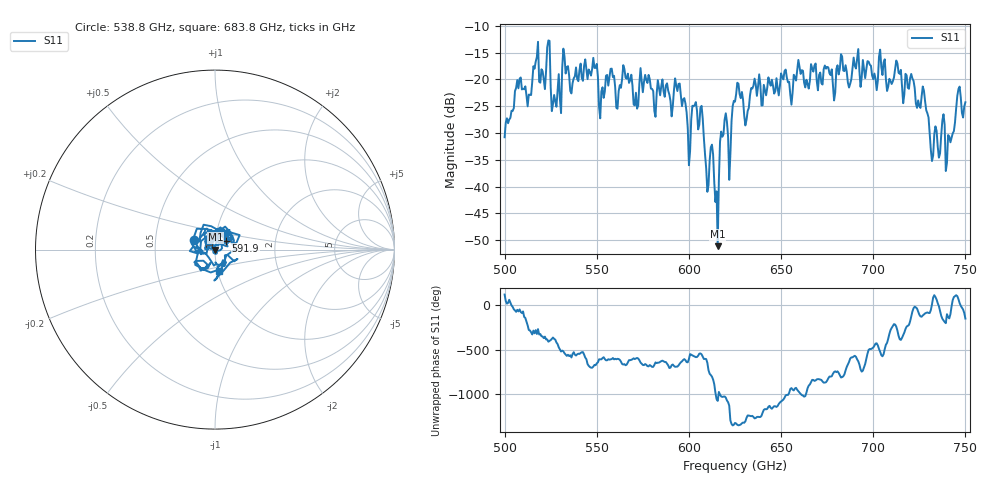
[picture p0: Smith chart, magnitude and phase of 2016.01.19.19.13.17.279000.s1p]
!Created with skrf (http://scikit-rf.org).
# GHz S RI R 50.0
!freq ReS11 ImS11
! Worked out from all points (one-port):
!   401 points, 500 GHz to 750 GHz, reference 50 ohm
!   lowest |S11| = -51.1 dB at 615.6 GHz (marker M1), VSWR 1.01, Z = 50.3 + j0.0315 ohm
!   |S11| at or under -10 dB: start of sweep to end of sweep
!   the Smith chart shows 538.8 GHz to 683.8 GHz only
!   S11 on the Smith chart (normalised r, x): 538.8 GHz: 0.79, +0.09; 591.9 GHz: 1.13, +0.11; 683.8 GHz: 1.02, -0.25
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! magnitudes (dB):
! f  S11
! 500 GHz  -30.8
! 507.5 GHz  -21.6
! 513.1 GHz  -22.8
! 516.9 GHz  -16.7
! 523.8 GHz  -12.7
! 526.9 GHz  -22.9
! 531.2 GHz  -17.8
! 538.8 GHz  -17.8
! 562.5 GHz  -21.1
! 591.9 GHz  -22.0
! 593.8 GHz  -22.2
! 600 GHz  -36.0
! 606.9 GHz  -24.9
! 609.4 GHz  -36.6
! 612.5 GHz  -32.2
! 615.6 GHz  -51.1
! 618.1 GHz  -30.7
! 622.5 GHz  -33.9
! 625 GHz  -24.1
! 656.2 GHz  -22.4
! 683.8 GHz  -18.3
! 687.5 GHz  -20.8
! 718.8 GHz  -21.6
! 727.5 GHz  -22.1
! 731.9 GHz  -35.2
! 740.6 GHz  -30.4
! 746.2 GHz  -21.8
! 750 GHz  -24.3
